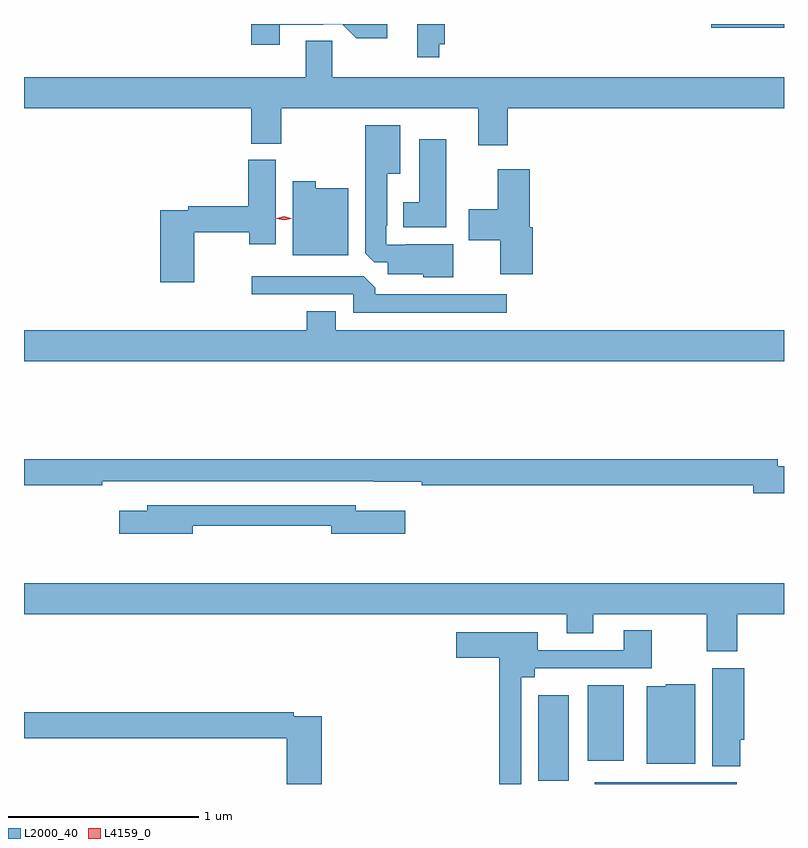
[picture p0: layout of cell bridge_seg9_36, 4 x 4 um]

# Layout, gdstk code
import gdstk
lib = gdstk.Library(unit=1e-6, precision=1e-09)
def R(c, l, rs):  # rectangles x0, y0, x1, y1
    for r in rs: c.add(gdstk.rectangle(r[:2], r[2:], *l))
def P(c, l, *ps):  # polygons
    for p in ps: c.add(gdstk.Polygon(p, *l))
L2000_40 = (2000, 40)
L4159_0 = (4159, 0)

bridge_seg9_36 = lib.new_cell('bridge_seg9_36')
R(bridge_seg9_36, L2000_40, [(979.029,1211.511,979.774,1211.52), (978.731,1211.529,978.892,1211.977), (978.992,1211.633,979.18,1212.031), (979.64,1215.491,980.024,1215.511)])
P(bridge_seg9_36, L2000_40, [(978.209,1215.404),(978.239,1215.404),(978.239,1215.511),(978.093,1215.511),(978.093,1215.336),(978.209,1215.336)],
  [(977.371,1215.507),(977.6,1215.507),(977.6,1215.51),(977.7,1215.51),(977.773,1215.437),(977.935,1215.437),(977.935,1215.511),(977.219,1215.511),(977.219,1215.402),(977.371,1215.402)],
  [(978.569,1215.068),(980.024,1215.068),(980.024,1215.232),(977.646,1215.232),(977.646,1215.422),(977.507,1215.422),(977.507,1215.232),(976.024,1215.232),(976.024,1215.068),(977.219,1215.068),(977.219,1214.881),(977.379,1214.881),(977.379,1215.068),(978.416,1215.068),(978.416,1214.874),(978.569,1214.874)],
  [(978.283,1214.353),(978.031,1214.353),(978.031,1214.349),(977.931,1214.349),(977.931,1214.449),(977.935,1214.449),(977.935,1214.723),(978.004,1214.723),(978.004,1214.977),(977.819,1214.977),(977.819,1214.305),(977.868,1214.256),(977.939,1214.256),(977.939,1214.195),(978.126,1214.195),(978.126,1214.177),(978.283,1214.177)],
  [(978.247,1214.905),(978.104,1214.905),(978.104,1214.572),(978.02,1214.572),(978.02,1214.441),(978.247,1214.441)],
  [(976.92,1214.416),(977.209,1214.416),(977.209,1214.352),(977.35,1214.352),(977.35,1214.796),(977.204,1214.796),(977.204,1214.552),(976.888,1214.552),(976.888,1214.532),(976.742,1214.532),(976.742,1214.151),(976.92,1214.151)],
  [(978.701,1214.441),(978.686,1214.441),(978.686,1214.746),(978.518,1214.746),(978.518,1214.535),(978.366,1214.535),(978.366,1214.372),(978.53,1214.372),(978.53,1214.193),(978.701,1214.193)],
  [(977.731,1214.647),(977.56,1214.647),(977.56,1214.683),(977.438,1214.683),(977.438,1214.294),(977.731,1214.294)],
  [(978.565,1214.088),(977.873,1214.088),(977.873,1214.122),(977.811,1214.184),(977.223,1214.184),(977.223,1214.088),(977.757,1214.088),(977.757,1213.992),(978.565,1213.992)],
  [(980.024,1213.9),(977.665,1213.9),(977.665,1213.999),(977.513,1213.999),(977.513,1213.9),(976.024,1213.9),(976.024,1213.736),(980.024,1213.736)],
  [(980.024,1213.184),(979.99,1213.184),(979.99,1213.22),(976.024,1213.22),(976.024,1213.084),(976.436,1213.084),(976.436,1213.104),(977.866,1213.104),(977.866,1213.103),(978.118,1213.103),(978.118,1213.084),(979.862,1213.084),(979.862,1213.042),(980.024,1213.042)],
  [(976.912,1212.87),(977.642,1212.87),(977.642,1212.827),(978.031,1212.827),(978.031,1212.949),(977.77,1212.949),(977.77,1212.978),(976.673,1212.978),(976.673,1212.949),(976.524,1212.949),(976.524,1212.827),(976.912,1212.827)],
  [(979.778,1212.404),(980.024,1212.404),(980.024,1212.568),(976.024,1212.568),(976.024,1212.404),(978.881,1212.404),(978.881,1212.305),(979.021,1212.305),(979.021,1212.404),(979.618,1212.404),(979.618,1212.21),(979.778,1212.21)],
  [(978.642,1212.074),(978.712,1212.074),(978.712,1212.12),(979.329,1212.12),(979.329,1212.319),(979.181,1212.319),(979.181,1212.216),(978.727,1212.216),(978.727,1212.31),(978.3,1212.31),(978.3,1212.176),(978.526,1212.176),(978.526,1211.511),(978.642,1211.511)],
  [(979.793,1211.745),(979.814,1211.745),(979.814,1212.121),(979.646,1212.121),(979.646,1211.605),(979.793,1211.605)],
  [(979.558,1212.037),(979.401,1212.037),(979.401,1212.025),(979.301,1212.025),(979.301,1211.618),(979.558,1211.618)],
  [(977.591,1211.868),(977.444,1211.868),(977.444,1211.888),(976.024,1211.888),(976.024,1211.752),(977.408,1211.752),(977.408,1211.511),(977.591,1211.511)])
P(bridge_seg9_36, L4159_0, [(977.393,1214.478),(977.355,1214.487),(977.354,1214.488),(977.355,1214.488),(977.393,1214.498),(977.431,1214.488),(977.431,1214.488),(977.431,1214.487)])

lib.write_gds('bridge_seg9_36.gds')
